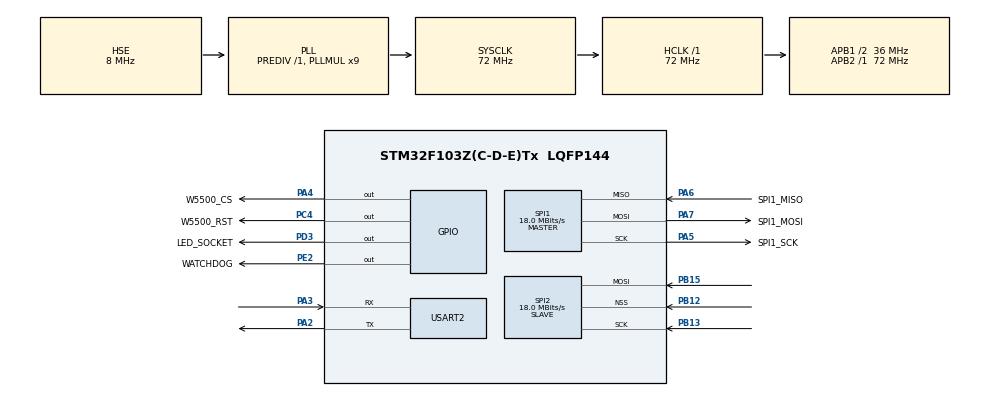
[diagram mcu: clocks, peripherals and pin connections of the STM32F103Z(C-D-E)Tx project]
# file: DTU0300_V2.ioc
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Mcu.Family=STM32F1
Mcu.Name=STM32F103Z(C-D-E)Tx
Mcu.Package=LQFP144
NVIC.PriorityGroup=NVIC_PRIORITYGROUP_4
OSC_IN.Mode=HSE-External-Oscillator
OSC_IN.Signal=RCC_OSC_IN
OSC_OUT.Mode=HSE-External-Oscillator
OSC_OUT.Signal=RCC_OSC_OUT
PA13.Mode=Serial_Wire
PA13.Signal=SYS_JTMS-SWDIO
PA14.Mode=Serial_Wire
PA14.Signal=SYS_JTCK-SWCLK
PA2.Mode=Asynchronous
PA2.Signal=USART2_TX
PA3.Mode=Asynchronous
PA3.Signal=USART2_RX
PA4.GPIO_Label=W5500_CS
PA4.Signal=GPIO_Output
PA5.GPIO_Label=SPI1_SCK
PA5.Mode=Full_Duplex_Master
PA5.Signal=SPI1_SCK
PA6.GPIO_Label=SPI1_MISO
PA6.Mode=Full_Duplex_Master
PA6.Signal=SPI1_MISO
PA7.GPIO_Label=SPI1_MOSI
PA7.Mode=Full_Duplex_Master
PA7.Signal=SPI1_MOSI
PB12.Mode=NSS_Signal_Hard_Input
PB12.Signal=SPI2_NSS
PB13.Mode=RX_Only_Simplex_Unidirect_Slave
PB13.Signal=SPI2_SCK
PB15.Mode=RX_Only_Simplex_Unidirect_Slave
PB15.Signal=SPI2_MOSI
PC4.GPIO_Label=W5500_RST
PC4.Signal=GPIO_Output
PD3.GPIO_Label=LED_SOCKET
PD3.Signal=GPIO_Output
PE2.GPIO_Label=WATCHDOG
PE2.Signal=GPIO_Output
ProjectManager.HeapSize=0x200
ProjectManager.StackSize=0x400
ProjectManager.TargetToolchain=TrueSTUDIO
RCC.AHBFreq_Value=72000000
RCC.APB1CLKDivider=RCC_HCLK_DIV2
RCC.APB1Freq_Value=36000000
RCC.APB1TimFreq_Value=72000000
RCC.APB2Freq_Value=72000000
RCC.APB2TimFreq_Value=72000000
RCC.HCLKFreq_Value=72000000
RCC.PLLMUL=RCC_PLL_MUL9
RCC.PLLSourceVirtual=RCC_PLLSOURCE_HSE
RCC.SYSCLKFreq_VALUE=72000000
RCC.SYSCLKSource=RCC_SYSCLKSOURCE_PLLCLK
RCC.USBFreq_Value=72000000
SPI1.BaudRatePrescaler=SPI_BAUDRATEPRESCALER_4
SPI1.CLKPhase=SPI_PHASE_2EDGE
SPI1.CLKPolarity=SPI_POLARITY_HIGH
SPI1.CalculateBaudRate=18.0 MBits/s
SPI1.Direction=SPI_DIRECTION_2LINES
SPI1.Mode=SPI_MODE_MASTER
SPI1.VirtualType=VM_MASTER
SPI2.BaudRatePrescaler=SPI_BAUDRATEPRESCALER_2
SPI2.CLKPolarity=SPI_POLARITY_HIGH
SPI2.CalculateBaudRate=18.0 MBits/s
SPI2.DataSize=SPI_DATASIZE_8BIT
SPI2.Direction=SPI_DIRECTION_2LINES_RXONLY
SPI2.Mode=SPI_MODE_SLAVE
SPI2.VirtualNSS=VM_NSSHARD
SPI2.VirtualType=VM_SLAVE
USART2.VirtualMode=VM_ASYNC
board=custom

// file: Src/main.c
/* USER CODE BEGIN Header */
/**
  ******************************************************************************
  * @file           : main.c
  * @brief          : Main program body
  ******************************************************************************
  * @attention
  *
  * <h2><center>&copy; Copyright (c) 2019 STMicroelectronics.
  * All rights reserved.</center></h2>
  *
  * This software component is licensed by ST under BSD 3-Clause license,
  * the "License"; You may not use this file except in compliance with the
  * License. You may obtain a copy of the License at:
  *                        opensource.org/licenses/BSD-3-Clause
  *
  ******************************************************************************
  */
/* USER CODE END Header */

#include "main.h"
#include "spi.h"
#include "usart.h"
#include "gpio.h"

/* USER CODE BEGIN Includes */
//#include <w5500_initcode.h>
#include "w5500_initcode.h"
#include "socket.h"
/* USER CODE END Includes */

/* USER CODE BEGIN PD */
uint8_t buf2[]   = "This is Echo Server using Wiznet W5500";
/* USER CODE END PD */

/* USER CODE BEGIN PV */
//
wiz_NetInfo gWIZNETINFO = {
    .mac = {0x00, 0x08, 0xdc, 0xab, 0xcd, 0x49},
    //.mac = {0x00, 0x00, 0x00, 0x00, 0x00, 0x00},
    .ip  = {192,168,0,215},
    .sn  = {255,255,255,0},
    .gw  = {192,168,0,1},
    .dns = {8,8,8,8},
    .dhcp = NETINFO_STATIC
};
//

volatile uint8_t buf_index = 0;
uint8_t Tx[] = {0xC0, 0x33, 0x9D, 0x37, 0x45, 0x2F};
uint8_t Rx[] = {0x00, 0x00, 0x00, 0x00, 0x00, 0x00 };
/* USER CODE END PV */

void SystemClock_Config(void);

/* USER CODE BEGIN 0 */
void updateWatchdog(void)
{

  HAL_GPIO_WritePin(WATCHDOG_GPIO_Port, WATCHDOG_Pin, GPIO_PIN_RESET);
  HAL_GPIO_WritePin(WATCHDOG_GPIO_Port, WATCHDOG_Pin, GPIO_PIN_RESET);
  HAL_GPIO_WritePin(WATCHDOG_GPIO_Port, WATCHDOG_Pin, GPIO_PIN_RESET);
  HAL_GPIO_WritePin(WATCHDOG_GPIO_Port, WATCHDOG_Pin, GPIO_PIN_RESET);
  HAL_GPIO_WritePin(WATCHDOG_GPIO_Port, WATCHDOG_Pin, GPIO_PIN_RESET);

  HAL_GPIO_WritePin(WATCHDOG_GPIO_Port, WATCHDOG_Pin, GPIO_PIN_SET);

}
/*
int _write(int file, char* p, int len)
{
  HAL_UART_Transmit(&huart2, p, len, 10);
  return len;
}
*/
int _write(int file, char* ptr, int len)
{
  //HAL_UART_Transmit(&huart2, p, len, 10);
  int DataIdx;

  for(DataIdx = 0; DataIdx < len; DataIdx++)
  {
    while(!LL_USART_IsActiveFlag_TXE(USART2))
    {
      //We can put some timeout here
    }
    LL_USART_TransmitData8(USART2, *ptr++);
  }
  return len;
}

int32_t myLoopback_tcps(uint8_t sn, uint8_t* buf, uint16_t port);
/* USER CODE END 0 */

int main(void)
{
  /* USER CODE BEGIN 1 */
  uint8_t w5500_s0_status = 0x10;
  uint8_t w5500_s1_status = 0x10;

  //uint8_t buf2[]   = "This is DTU-3000 using W5500";
  uint8_t address_target[]  = {192,168,11,101};
  uint8_t count = 0;

  int ret;
  /* USER CODE END 1 */

  /* MCU Configuration--------------------------------------------------------*/

  /* Reset of all peripherals, Initializes the Flash interface and the Systick. */
  HAL_Init();

  /* Configure the system clock */
  SystemClock_Config();

  /* Initialize all configured peripherals */
  MX_GPIO_Init();
  MX_SPI1_Init();
  MX_USART2_UART_Init();
  MX_SPI2_Init();
  /* USER CODE BEGIN 2 */
  W5500_hw_Rst();
  W5500_init();

  socket(0, Sn_MR_TCP, 5000, SF_TCP_NODELAY);
  listen(0);

  //SPI2->CR2 |= 0x0040;    // RXNE interrupt enable
  SPI2->CR1 |= 0x0040;    // SPI enable

  SPI2->DR = Tx[0];       // Write initial byte

  /* USER CODE END 2 */

  /* Infinite loop */
  while (1)
  {

    /* USER CODE BEGIN 3 */

	  HAL_GPIO_TogglePin(LED_SOCKET_GPIO_Port, LED_SOCKET_Pin);
	  //printf("0x0A \r \n");
	  //w5500_s0_status = getSn_SR(0);
    //w5500_s1_status = getSn_SR(1);

	  //printf("W5500 Status Socket0 == 0x%X Socket1 == 0x%X \r \n", w5500_s0_status , w5500_s1_status);
	  printf("%d %d %d %d %d %d \r \n", Rx[0], Rx[1], Rx[2], Rx[3], Rx[4], Rx[5]);
	  HAL_Delay(100);
    /*
	  //updateWatchdog();
	  //socket(0, Sn_MR_TCP, 5000, SF_TCP_NODELAY);
	  //listen(0);

	  w5500_s0_status = getSn_SR(0);
	  w5500_s1_status = getSn_SR(1);

	  if(w5500_s0_status == SOCK_ESTABLISHED)
	  {
	    printf("Welcome to W5500 \r \n");
	    send(0, buf, sizeof(buf));
	    //send(0, &count,1);
	    //count++;
	  }
	  else
	  {
	    printf("W5500 Status Socket0 == 0x%X Socket1 == 0x%X \r \n", w5500_s0_status , w5500_s1_status);
	  }
	  */

    // Loopback Test

    if((ret = myLoopback_tcps(SOCK_TCPS0, gDATABUF, 5000)) < 0)
    {
      printf("WSOCKET ERROR : %d \r \n", ret);
    }

  }
  /* USER CODE END 3 */
}

void SystemClock_Config(void)
{
  RCC_OscInitTypeDef RCC_OscInitStruct = {0};
  RCC_ClkInitTypeDef RCC_ClkInitStruct = {0};

  /** Initializes the CPU, AHB and APB busses clocks
  */
  RCC_OscInitStruct.OscillatorType = RCC_OSCILLATORTYPE_HSE;
  RCC_OscInitStruct.HSEState = RCC_HSE_ON;
  RCC_OscInitStruct.HSEPredivValue = RCC_HSE_PREDIV_DIV1;
  RCC_OscInitStruct.HSIState = RCC_HSI_ON;
  RCC_OscInitStruct.PLL.PLLState = RCC_PLL_ON;
  RCC_OscInitStruct.PLL.PLLSource = RCC_PLLSOURCE_HSE;
  RCC_OscInitStruct.PLL.PLLMUL = RCC_PLL_MUL9;
  if (HAL_RCC_OscConfig(&RCC_OscInitStruct) != HAL_OK)
  {
    Error_Handler();
  }
  /** Initializes the CPU, AHB and APB busses clocks
  */
  RCC_ClkInitStruct.ClockType = RCC_CLOCKTYPE_HCLK|RCC_CLOCKTYPE_SYSCLK
                              |RCC_CLOCKTYPE_PCLK1|RCC_CLOCKTYPE_PCLK2;
  RCC_ClkInitStruct.SYSCLKSource = RCC_SYSCLKSOURCE_PLLCLK;
  RCC_ClkInitStruct.AHBCLKDivider = RCC_SYSCLK_DIV1;
  RCC_ClkInitStruct.APB1CLKDivider = RCC_HCLK_DIV2;
  RCC_ClkInitStruct.APB2CLKDivider = RCC_HCLK_DIV1;

  if (HAL_RCC_ClockConfig(&RCC_ClkInitStruct, FLASH_LATENCY_2) != HAL_OK)
  {
    Error_Handler();
  }
}

/* USER CODE BEGIN 4 */
int32_t myLoopback_tcps(uint8_t sn, uint8_t* buf, uint16_t port)
{
   int32_t ret;
   uint16_t size = 0, sentsize=0;

   switch(getSn_SR(sn))
   {
      case SOCK_ESTABLISHED :
         if(getSn_IR(sn) & Sn_IR_CON)
         {
            //myprintf("%d:Connected\r\n",sn);
            printf("%d:Connected\r\n",sn);

            setSn_IR(sn,Sn_IR_CON);
         }
         if((size = getSn_RX_RSR(sn)) > 0)
         {
            if(size > DATA_BUF_SIZE) size = DATA_BUF_SIZE;
            ret = recv(sn,buf,size);
            if(ret <= 0) return ret;

            //printf("%d:Receive message\r\n",sn);
            send(sn, buf2, sizeof(buf2));

            sentsize = 0;
            while(size != sentsize)
            {
               ret = send(sn,buf+sentsize,size-sentsize);
               if(ret < 0)
               {
                  close(sn);
                  return ret;
               }
               sentsize += ret; // Don't care SOCKERR_BUSY, because it is zero.
            }
         }
         break;

      case SOCK_CLOSE_WAIT :
         //myprintf("%d:CloseWait\r\n",sn);
         printf("%d:CloseWait\r\n",sn);

         if((ret=disconnect(sn)) != SOCK_OK) return ret;
         //myprintf("%d:Closed\r\n",sn);
         printf("%d:Closed\r\n",sn);
         break;

      case SOCK_INIT :
          //myprintf("%d:Listen, port [%d]\r\n",sn, port);
         printf("%d:Listen, port [%d]\r\n",sn, port);

         if( (ret = listen(sn)) != SOCK_OK) return ret;
         break;

      case SOCK_CLOSED:
         //myprintf("%d:LBTStart\r\n",sn);
         printf("%d:LBTStart\r\n",sn);

         if((ret=socket(sn,Sn_MR_TCP,port,0x00)) != sn)
            return ret;
         //myprintf("%d:Opened\r\n",sn);
         printf("%d:Opened\r\n",sn);
         break;

      default:
         break;
   }
   return 1;
}
/* USER CODE END 4 */

void Error_Handler(void)
{
}

/************************ (C) COPYRIGHT STMicroelectronics *****END OF FILE****/
